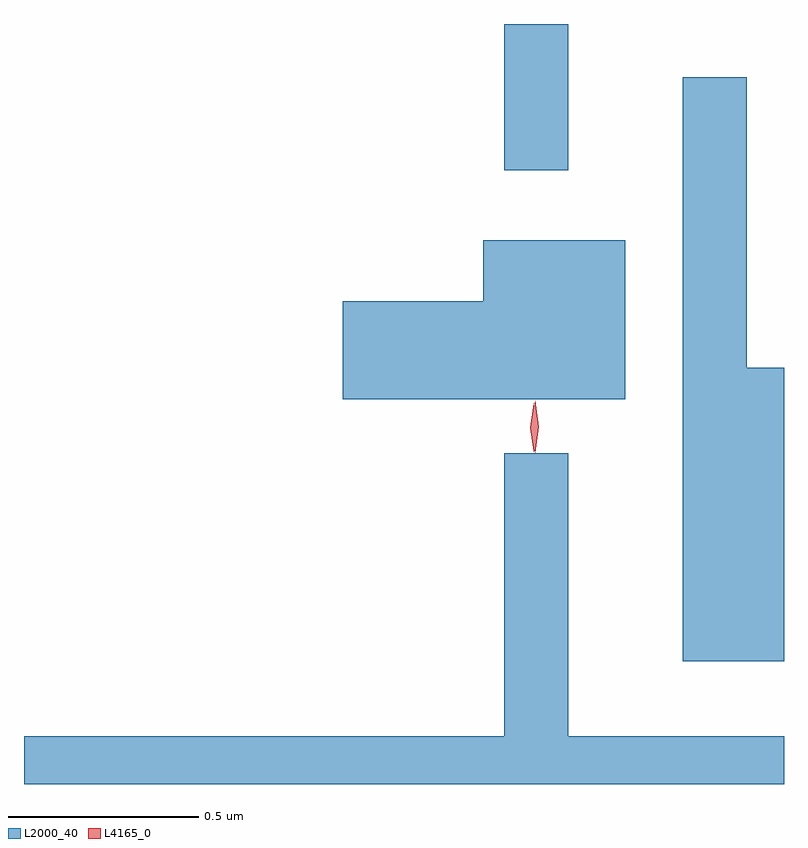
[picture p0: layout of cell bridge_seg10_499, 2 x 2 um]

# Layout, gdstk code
import gdstk
lib = gdstk.Library(unit=1e-6, precision=1e-09)
def R(c, l, rs):  # rectangles x0, y0, x1, y1
    for r in rs: c.add(gdstk.rectangle(r[:2], r[2:], *l))
def P(c, l, *ps):  # polygons
    for p in ps: c.add(gdstk.Polygon(p, *l))
L2000_40 = (2000, 40)
L4165_0 = (4165, 0)

bridge_seg10_499 = lib.new_cell('bridge_seg10_499')
R(bridge_seg10_499, L2000_40, [(1039.711,2160.073,1039.879,2160.458)])
P(bridge_seg10_499, L2000_40, [(1040.447,2159.554),(1040.349,2159.554),(1040.349,2160.318),(1040.181,2160.318),(1040.181,2158.781),(1040.447,2158.781)],
  [(1040.029,2159.889),(1039.656,2159.889),(1039.656,2159.729),(1039.286,2159.729),(1039.286,2159.471),(1040.029,2159.471)],
  [(1040.447,2158.584),(1039.879,2158.584),(1039.879,2159.328),(1039.711,2159.328),(1039.711,2158.584),(1038.447,2158.584),(1038.447,2158.458),(1040.447,2158.458)])
P(bridge_seg10_499, L4165_0, [(1039.792,2159.33),(1039.792,2159.33),(1039.782,2159.398),(1039.792,2159.466),(1039.792,2159.466),(1039.793,2159.466),(1039.802,2159.398),(1039.793,2159.33)],
  [(1039.789,2159.333),(1039.789,2159.334),(1039.779,2159.396),(1039.788,2159.459),(1039.789,2159.46),(1039.789,2159.459),(1039.799,2159.396),(1039.79,2159.334)])

lib.write_gds('bridge_seg10_499.gds')
